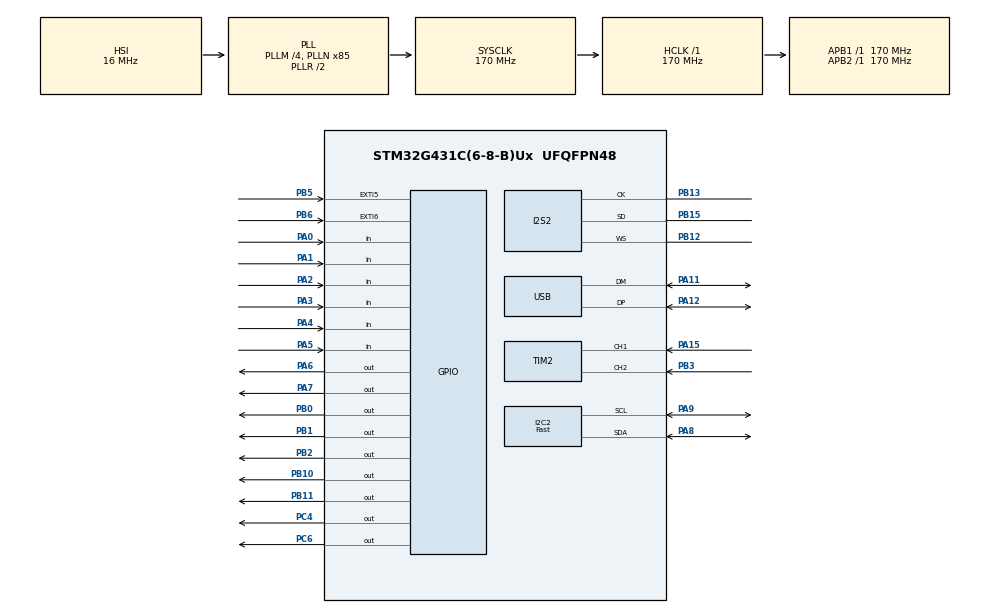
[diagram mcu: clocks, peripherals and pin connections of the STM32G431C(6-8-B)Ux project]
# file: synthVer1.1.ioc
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Dma.Request0=SPI2_TX
Dma.SPI2_TX.0.Direction=DMA_MEMORY_TO_PERIPH
Dma.SPI2_TX.0.EventEnable=DISABLE
Dma.SPI2_TX.0.Instance=DMA1_Channel1
Dma.SPI2_TX.0.MemDataAlignment=DMA_MDATAALIGN_HALFWORD
Dma.SPI2_TX.0.MemInc=DMA_MINC_ENABLE
Dma.SPI2_TX.0.Mode=DMA_CIRCULAR
Dma.SPI2_TX.0.PeriphDataAlignment=DMA_PDATAALIGN_HALFWORD
Dma.SPI2_TX.0.PeriphInc=DMA_PINC_DISABLE
Dma.SPI2_TX.0.Polarity=HAL_DMAMUX_REQ_GEN_RISING
Dma.SPI2_TX.0.Priority=DMA_PRIORITY_LOW
Dma.SPI2_TX.0.RequestNumber=1
Dma.SPI2_TX.0.SignalID=NONE
Dma.SPI2_TX.0.SyncEnable=DISABLE
Dma.SPI2_TX.0.SyncPolarity=HAL_DMAMUX_SYNC_NO_EVENT
Dma.SPI2_TX.0.SyncRequestNumber=1
Dma.SPI2_TX.0.SyncSignalID=NONE
I2C2.I2C_Speed_Mode=I2C_Fast
I2C2.Timing=0x40621236
I2S2.AudioFreq=I2S_AUDIOFREQ_48K
I2S2.ErrorAudioFreq=-0.29 %
I2S2.FullDuplexMode=I2S_FULLDUPLEXMODE_DISABLE
I2S2.Instance=SPI$Index
I2S2.RealAudioFreq=47.86 KHz
I2S2.VirtualMode=I2S_MODE_MASTER
Mcu.Family=STM32G4
Mcu.Name=STM32G431C(6-8-B)Ux
Mcu.Package=UFQFPN48
NVIC.DMA1_Channel1_IRQn=true\:0\:0\:false\:false\:true\:false\:true\:true
NVIC.EXTI9_5_IRQn=true\:0\:0\:false\:false\:true\:true\:true\:true
NVIC.PriorityGroup=NVIC_PRIORITYGROUP_4
NVIC.SPI2_IRQn=true\:0\:0\:false\:false\:true\:true\:true\:true
NVIC.TIM4_IRQn=true\:0\:0\:false\:false\:true\:true\:true\:true
NVIC.TIM6_DAC_IRQn=true\:0\:0\:false\:false\:true\:true\:true\:true
NVIC.TIM7_IRQn=true\:0\:0\:false\:false\:true\:true\:true\:true
NVIC.USB_LP_IRQn=true\:0\:0\:false\:false\:true\:false\:true\:true
PA0.GPIO_PuPd=GPIO_PULLDOWN
PA0.Signal=GPIO_Input
PA1.GPIO_PuPd=GPIO_PULLDOWN
PA1.Signal=GPIO_Input
PA11.Mode=Device
PA11.Signal=USB_DM
PA12.Mode=Device
PA12.Signal=USB_DP
PA13.Mode=Serial_Wire
PA13.Signal=SYS_JTMS-SWDIO
PA14.Mode=Serial_Wire
PA14.Signal=SYS_JTCK-SWCLK
PA15.Signal=S_TIM2_CH1
PA2.GPIO_PuPd=GPIO_PULLDOWN
PA2.Signal=GPIO_Input
PA3.GPIO_PuPd=GPIO_PULLDOWN
PA3.Signal=GPIO_Input
PA4.GPIO_PuPd=GPIO_PULLDOWN
PA4.Signal=GPIO_Input
PA5.GPIO_PuPd=GPIO_PULLDOWN
PA5.Signal=GPIO_Input
PA6.Signal=GPIO_Output
PA7.Signal=GPIO_Output
PA8.GPIO_Pu=GPIO_PULLUP
PA8.Mode=I2C
PA8.Signal=I2C2_SDA
PA9.GPIO_Pu=GPIO_PULLUP
PA9.Mode=I2C
PA9.Signal=I2C2_SCL
PB0.Signal=GPIO_Output
PB1.Signal=GPIO_Output
PB10.Signal=GPIO_Output
PB11.Signal=GPIO_Output
PB12.Mode=Half_Duplex_Master
PB12.Signal=I2S2_WS
PB13.Mode=Half_Duplex_Master
PB13.Signal=I2S2_CK
PB15.Mode=Half_Duplex_Master
PB15.Signal=I2S2_SD
PB2.Signal=GPIO_Output
PB3.Signal=S_TIM2_CH2
PB5.GPIO_ModeDefaultEXTI=GPIO_MODE_IT_FALLING
PB5.GPIO_PuPd=GPIO_PULLUP
PB5.Signal=GPXTI5
PB6.GPIO_ModeDefaultEXTI=GPIO_MODE_IT_FALLING
PB6.GPIO_PuPd=GPIO_PULLUP
PB6.Signal=GPXTI6
PC4.Signal=GPIO_Output
PC6.Signal=GPIO_Output
PF0-OSC_IN.Mode=HSE-External-Oscillator
PF0-OSC_IN.Signal=RCC_OSC_IN
PF1-OSC_OUT.Mode=HSE-External-Oscillator
PF1-OSC_OUT.Signal=RCC_OSC_OUT
ProjectManager.HeapSize=0x200
ProjectManager.StackSize=0x400
ProjectManager.TargetToolchain=CMake
RCC.ADC12Freq_Value=170000000
RCC.AHBFreq_Value=170000000
RCC.APB1Freq_Value=170000000
RCC.APB1TimFreq_Value=170000000
RCC.APB2Freq_Value=170000000
RCC.APB2TimFreq_Value=170000000
RCC.CK48CLockSelection=RCC_USBCLKSOURCE_HSI48
RCC.CortexFreq_Value=170000000
RCC.EXTERNAL_CLOCK_VALUE=12288000
RCC.HCLKFreq_Value=170000000
RCC.HSE_VALUE=8000000
RCC.HSI48_VALUE=48000000
RCC.HSI_VALUE=16000000
RCC.LSE_VALUE=32768
RCC.PLLM=RCC_PLLM_DIV4
RCC.PLLN=85
RCC.PLLQ=RCC_PLLQ_DIV4
RCC.SYSCLKFreq_VALUE=170000000
RCC.SYSCLKSource=RCC_SYSCLKSOURCE_PLLCLK
RCC.USBFreq_Value=48000000
RCC.VCOOutputFreq_Value=340000000
SH.S_TIM2_CH1.0=TIM2_CH1,Encoder_Interface
SH.S_TIM2_CH2.0=TIM2_CH2,Encoder_Interface
TIM2.IC1Filter=8
TIM2.IC2Filter=8
TIM4.PeriodNoDither=999
TIM4.Prescaler=169
TIM6.PeriodNoDither=99
TIM6.Prescaler=169
TIM7.PeriodNoDither=9999
TIM7.Prescaler=1699
USB_DEVICE.CLASS_NAME_FS=CDC
USB_DEVICE.PRODUCT_STRING_CDC_FS=alan
USB_DEVICE.VirtualMode=Cdc
USB_DEVICE.VirtualModeFS=Cdc_FS
VP_RNG_VS_RNG.Mode=RNG_Activate
VP_SYS_VS_DBSignals.Mode=DisableDeadBatterySignals
VP_TIM1_VS_ClockSourceINT.Mode=Internal
VP_TIM4_VS_ClockSourceINT.Mode=Internal
VP_TIM6_VS_ClockSourceINT.Mode=Enable_Timer
VP_TIM7_VS_ClockSourceINT.Mode=Enable_Timer
VP_USB_DEVICE_VS_USB_DEVICE_CDC_FS.Mode=CDC_FS
board=custom

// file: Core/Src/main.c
/* USER CODE BEGIN Header */
/**
 ******************************************************************************
 * @file           : main.c
 * @brief          : Main program body
 ******************************************************************************
 * @attention
 *
 * Copyright (c) 2026 STMicroelectronics.
 * All rights reserved.
 *
 * This software is licensed under terms that can be found in the LICENSE file
 * in the root directory of this software component.
 * If no LICENSE file comes with this software, it is provided AS-IS.
 *
 ******************************************************************************
 */
/* USER CODE END Header */
#include "main.h"
#include "dma.h"
#include "i2c.h"
#include "i2s.h"
#include "rng.h"
#include "tim.h"
#include "usb_device.h"
#include "gpio.h"

/* USER CODE BEGIN Includes */
#include "adsr.h"
#include "kasaneTeto.h"
#include "keyMatrix.h"
#include "oscillators.h"
#include "sinewave.h"
#include "ui.h"
#include "usbd_cdc_if.h"
#include <stdint.h>

/* USER CODE END Includes */

/* USER CODE BEGIN PTD */
int _write(int file, char *ptr, int len) {
  CDC_Transmit_FS((uint8_t *)ptr, len);
  return len;
}

/* USER CODE END PTD */

/* USER CODE BEGIN PV */

/* ---------------------------buffer------------------------------------------*/

uint16_t mainBuff[512] = {0};

/*----------------------------flags-------------------------------------------*/

flag scan = 0; // matrix scan flag
flag adsrTick = 0;
flag releaseFlag = 0;
flag ledFlag = 0;
flag gachaFlag = 0; // ignore this for now

/*----------------------------random------------------------------------------*/

oscillator_t oscillator[8] = {0};

adsr_t adsr = {ATTACK, 10, 10, 1, 0, 0};
uint8_t voiceCount = 0;
int8_t detuneCents = 20;
int8_t waveType = 0;

volatile uint8_t uiStateCounter = 0;
volatile int8_t updateState = 0;

volatile int8_t uiState = 0;

/* USER CODE END PV */

void SystemClock_Config(void);
/* USER CODE BEGIN PFP */
void blink(void) {
  if (ledFlag == 1) {
    ledFlag = 0;
    HAL_GPIO_TogglePin(GPIOC, GPIO_PIN_6);
  }
}

volatile uint32_t fillSineCycles = 0;
volatile uint32_t fillSineMaxCycles = 0;
void HAL_I2S_TxHalfCpltCallback(I2S_HandleTypeDef *hi2s) {
  if (gachaFlag == 1) {
    tetoMode(FIRST_HALF, (int16_t *)mainBuff, oscillator, &adsr);
  } else {

    volatile uint32_t start = DWT->CYCCNT;
    unisonFill(voiceCount, FIRST_HALF, mainBuff, &adsr, oscillator, waveType);
    fillSineCycles = DWT->CYCCNT - start;
    if (fillSineCycles > fillSineMaxCycles)
      fillSineMaxCycles = fillSineCycles;
  }
}

void HAL_I2S_TxCpltCallback(I2S_HandleTypeDef *hi2s) {
  if (gachaFlag == 1) {
    tetoMode(SECOND_HALF, (int16_t *)mainBuff, oscillator, &adsr);
  } else {
    volatile uint32_t start = DWT->CYCCNT;
    unisonFill(voiceCount, SECOND_HALF, mainBuff, &adsr, oscillator, waveType);
    fillSineCycles = DWT->CYCCNT - start;
    if (fillSineCycles > fillSineMaxCycles)
      fillSineMaxCycles = fillSineCycles;
  }
}

void HAL_TIM_PeriodElapsedCallback(TIM_HandleTypeDef *htim) {
  if (htim->Instance == TIM4) {
    scan = 1;
  }

  if (htim->Instance == TIM6) {
    adsrTick = 1;
  }

  if (htim->Instance == TIM7) {
    ledFlag = 1;
  }
}

#define DEBOUNCE_MS 150 // unusually high but lower values just dont work

void HAL_GPIO_EXTI_Callback(uint16_t GPIO_Pin) {
  static uint32_t lastPB5Tick = 0;
  static uint32_t lastPB6Tick = 0;
  uint32_t now = HAL_GetTick();

  if (GPIO_Pin == GPIO_PIN_5) {
    if (now - lastPB5Tick >= DEBOUNCE_MS) {
      uiStateCounter--;
      lastPB5Tick = now;
      updateState = 1;
    }
  }

  if (GPIO_Pin == GPIO_PIN_6) {
    if (now - lastPB6Tick >= DEBOUNCE_MS) {
      uiStateCounter++;
      lastPB6Tick = now;
      updateState = 1;
    }
  }
}

/* USER CODE END PFP */

int main(void)
{

  /* USER CODE BEGIN 1 */

  SystemCoreClockUpdate();

  /* USER CODE END 1 */

  /* MCU Configuration--------------------------------------------------------*/

  /* Reset of all peripherals, Initializes the Flash interface and the Systick. */
  HAL_Init();

  /* USER CODE BEGIN Init */
  CoreDebug->DEMCR |= CoreDebug_DEMCR_TRCENA_Msk; // enable trace
  DWT->CYCCNT = 0;
  DWT->CTRL |= DWT_CTRL_CYCCNTENA_Msk;
  /* USER CODE END Init */

  /* Configure the system clock */
  SystemClock_Config();

  /* USER CODE BEGIN SysInit */
  gamble(&gachaFlag); // comming soon

  /* USER CODE END SysInit */

  /* Initialize all configured peripherals */
  MX_GPIO_Init();
  MX_DMA_Init();
  MX_I2S2_Init();
  MX_TIM4_Init();
  MX_TIM6_Init();
  MX_TIM7_Init();
  MX_RNG_Init();
  MX_USB_Device_Init();
  MX_TIM1_Init();
  MX_TIM2_Init();
  MX_I2C2_Init();
  /* USER CODE BEGIN 2 */

  HAL_I2S_Transmit_DMA(&hi2s2, (uint16_t *)mainBuff, 512);
  HAL_TIM_Base_Start_IT(&htim4); // matrix scan timer, 1000hz
  HAL_TIM_Base_Start_IT(&htim6); // adsr ticks, 10000hz
  HAL_TIM_Base_Start_IT(
      &htim7); // blinky timer (kasane teto mode, comming soon)
  HAL_TIM_Encoder_Start(&htim2, TIM_CHANNEL_ALL); // encoder mode timer
  displayInit();
  displayText(TITLE, "Welcome!");
  displayText(BODY1, "press any button");
  displayText(BODY2, "to start");

  /* USER CODE END 2 */

  /* Infinite loop */
  /* USER CODE BEGIN WHILE */

  while (1) {

    if (gachaFlag == 1) {
      blink();
    }

    adsrEnvStart(&adsrTick, &adsr, &releaseFlag, oscillator);

    scanMatrix(voiceCount, &scan, oscillator, &adsr, detuneCents, &releaseFlag);

    uint8_t uiState = uiStateCounter % 8;
    uint8_t redraw = 0;

    if (updateState == 1) {
      redraw = updateState; // this + function set as bool refreshes screen only
                            // when we press button
      printf("counter: %d state: %d \r\n", uiStateCounter, uiState);
      updateState = 0;
    }

    switch (uiState) {
    case WAVE_TYPE: {
      static int8_t number = 0;
      if (parameterSet(&htim2, &number, PARAM_INT) || redraw == 1) {
        waveType = number & 1;
        displayClear();
        displayText(TITLE, "Wavetable");
        displayText(BODY1, waveType == 0 ? "SINE" : "SAW");
      }
      break;
    }
    case UNISON: {
      static int8_t number = 0;
      if (parameterSet(&htim2, &number, PARAM_INT) || redraw == 1) {
        voiceCount = number & 3;
        displayClear();
        displayText(TITLE, "Unison");
        displayText(BODY1, "Voices: %d", (1 << voiceCount));
      }
      break;
    }
    case DETUNE: {
      static int8_t number = 0;
      if (parameterSet(&htim2, &number, PARAM_INT) || redraw == 1) {
        detuneCents = number;
        displayClear();
        displayText(TITLE, "Detune");
        displayText(BODY1, "cents: %d", detuneCents);
      }
      break;
    }
    case ATK: {

      static int16_t number = 0;
      if (parameterSet(&htim2, &number, PARAM_INT) || redraw == 1) {
        adsr.attack = number * 10;
        displayClear();
        displayText(TITLE, "Attack");
        displayText(BODY1, "%d ms", adsr.attack);
      }
      break;
    }

    case DEC: {

      static int16_t number = 0;
      if (parameterSet(&htim2, &number, PARAM_INT) || redraw == 1) {
        adsr.decay = number * 10;
        displayClear();
        displayText(TITLE, "Decay");
        displayText(BODY1, "%d ms", adsr.decay);
      }
      break;
    }

    case SUS: // amogus :D
    {
      static int16_t number = 0;
      if (parameterSet(&htim2, &number, PARAM_INT) || redraw == 1) {
        adsr.sustain = 1.0f - (float)number / 50.0f;
        int8_t fdosentwork = (int)(adsr.sustain * 100);
        displayClear();
        displayText(TITLE, "Sustain");
        if (fdosentwork == 100) {
          displayText(BODY1, "1.00", fdosentwork);
        } else if (fdosentwork < 10) {
          displayText(BODY1, "0.0%d", fdosentwork);
        } else {
          displayText(BODY1, "0.%d", fdosentwork);
        }
      }
      break;
    }

    case REL: {

      static int16_t number = 0;
      if (parameterSet(&htim2, &number, PARAM_INT) || redraw == 1) {
        adsr.release = number * 10;
        displayClear();
        displayText(TITLE, "Release");
        displayText(BODY1, "%d ms", adsr.release);
      }
      break;
    }
    case PADDING: {

      static int16_t number = 0;
      if (parameterSet(&htim2, &number, PARAM_INT) || redraw == 1) {
        adsr.release = number * 10;
        displayClear();
        displayText(TITLE, "More stuff");
        displayText(BODY1, "comming soon!!");
      }
      break;
    }
    }
    /* USER CODE END WHILE */

  }
}

void SystemClock_Config(void)
{
  RCC_OscInitTypeDef RCC_OscInitStruct = {0};
  RCC_ClkInitTypeDef RCC_ClkInitStruct = {0};

  /** Configure the main internal regulator output voltage
  */
  HAL_PWREx_ControlVoltageScaling(PWR_REGULATOR_VOLTAGE_SCALE1_BOOST);

  /** Initializes the RCC Oscillators according to the specified parameters
  * in the RCC_OscInitTypeDef structure.
  */
  RCC_OscInitStruct.OscillatorType = RCC_OSCILLATORTYPE_HSI|RCC_OSCILLATORTYPE_HSI48;
  RCC_OscInitStruct.HSIState = RCC_HSI_ON;
  RCC_OscInitStruct.HSICalibrationValue = RCC_HSICALIBRATION_DEFAULT;
  RCC_OscInitStruct.HSI48State = RCC_HSI48_ON;
  RCC_OscInitStruct.PLL.PLLState = RCC_PLL_ON;
  RCC_OscInitStruct.PLL.PLLSource = RCC_PLLSOURCE_HSI;
  RCC_OscInitStruct.PLL.PLLM = RCC_PLLM_DIV4;
  RCC_OscInitStruct.PLL.PLLN = 85;
  RCC_OscInitStruct.PLL.PLLP = RCC_PLLP_DIV2;
  RCC_OscInitStruct.PLL.PLLQ = RCC_PLLQ_DIV4;
  RCC_OscInitStruct.PLL.PLLR = RCC_PLLR_DIV2;
  if (HAL_RCC_OscConfig(&RCC_OscInitStruct) != HAL_OK)
  {
    Error_Handler();
  }

  /** Initializes the CPU, AHB and APB buses clocks
  */
  RCC_ClkInitStruct.ClockType = RCC_CLOCKTYPE_HCLK|RCC_CLOCKTYPE_SYSCLK
                              |RCC_CLOCKTYPE_PCLK1|RCC_CLOCKTYPE_PCLK2;
  RCC_ClkInitStruct.SYSCLKSource = RCC_SYSCLKSOURCE_PLLCLK;
  RCC_ClkInitStruct.AHBCLKDivider = RCC_SYSCLK_DIV1;
  RCC_ClkInitStruct.APB1CLKDivider = RCC_HCLK_DIV1;
  RCC_ClkInitStruct.APB2CLKDivider = RCC_HCLK_DIV1;

  if (HAL_RCC_ClockConfig(&RCC_ClkInitStruct, FLASH_LATENCY_4) != HAL_OK)
  {
    Error_Handler();
  }
}

void Error_Handler(void)
{
  /* USER CODE BEGIN Error_Handler_Debug */
  /* User can add his own implementation to report the HAL error return state
   */
  __disable_irq();
  while (1) {
  }

  /* USER CODE END Error_Handler_Debug */
}
#ifdef USE_FULL_ASSERT
/**
  * @brief  Reports the name of the source file and the source line number
  *         where the assert_param error has occurred.
  * @param  file: pointer to the source file name
  * @param  line: assert_param error line source number
  * @retval None
  */
void assert_failed(uint8_t *file, uint32_t line)
{
  /* USER CODE BEGIN 6 */

  /* User can add his own implementation to report the file name and line
     number, ex: printf("Wrong parameters value: file %s on line %d\r\n",
     file, line) */

  /* USER CODE END 6 */
}
#endif /* USE_FULL_ASSERT */
